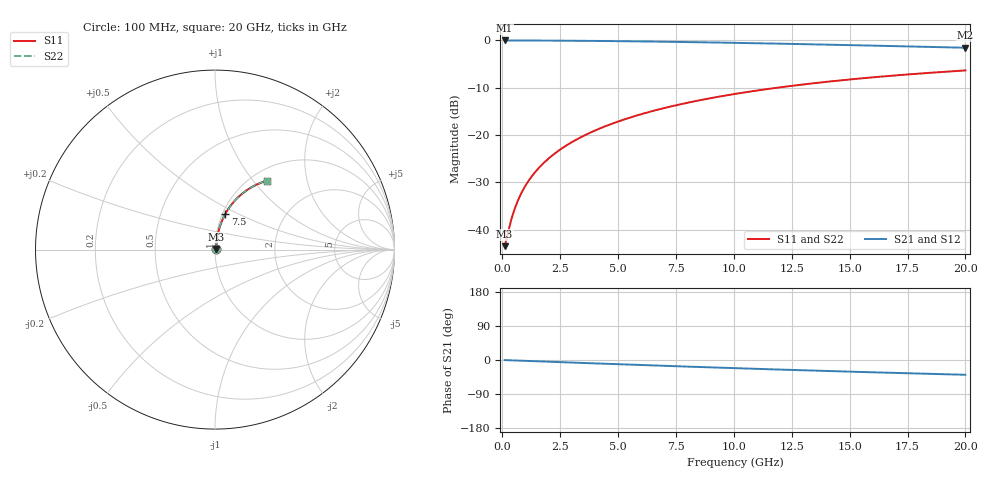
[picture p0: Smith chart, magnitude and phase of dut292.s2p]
! Touchstone file exported from HFSS 2024.1.0
!  File:  C:/UserFiles/LocalFiles/RDL_TSV_Batchsim/temp_RDL_bottom_292_1778703425.aedt
!  Generated:  04:19:41 AM May 14, 2026
!  Design:  RDL_bottom
!  Project:  temp_RDL_bottom_292_1778703425
!  Setup:  Setup1
!  Solution:  Sweep
! Variables:
!  dtsv = 10.80580581um
!  hbump = 3um
!  htsv = 96.75um
!  ldown = 429.83um
!  lrdl = 100um
!  p = 40
!  p1 = 57.82um
!  rhole = 1um
!  t = 450um
!  tdown = 2.22um
!  trdl = 3.915915916um
!  wdown = 11.53um
!  wrdl = 20um
# GHz S MA R 50.000000
! Terminal data exported
! Port[1] = RDL1_T1
! Port[2] = RDL1_T2
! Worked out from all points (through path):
!   200 points, 100 MHz to 20 GHz, reference 50 ohm
!   highest |S21| = -0.05 dB at 100 MHz (marker M1); lowest = -1.6 dB at 20 GHz (marker M2)
!   group delay of S21, straight-line fit = 5.43 ps
!   lowest |S11| = -43.4 dB at 100 MHz (marker M3), VSWR 1.01, Z = 50.6 + j0.291 ohm
!   |S11| at or under -10 dB: start of sweep to 11.9 GHz
!   |S22| runs from -43.4 to -6.4 dB; largest |S21 - S12| = 2.6e-15
!   S11 on the Smith chart (normalised r, x): 100 MHz: 1.01, +0.01; 7.5 GHz: 1.03, +0.43; 20 GHz: 1.18, +1.17
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0.1  0.006728 25.3  0.9939 -0.2  0.9939 -0.2  0.006728 25.3
! Gamma 0 0 0 0
! Port Impedance 50 0 50 0
0.3  0.01062 54.1  0.9938 -0.7  0.9938 -0.7  0.01062 54.1
0.4  0.0131 61.0  0.9937 -0.9  0.9937 -0.9  0.0131 61.0
0.5  0.01569 65.5  0.9936 -1.2  0.9936 -1.2  0.01569 65.5
0.6  0.01835 68.7  0.9934 -1.4  0.9934 -1.4  0.01835 68.7
0.7  0.02105 70.9  0.9933 -1.6  0.9933 -1.6  0.02105 70.9
0.9  0.02648 74.0  0.9929 -2.1  0.9929 -2.1  0.02648 74.0
1.2  0.03467 76.6  0.9923 -2.7  0.9923 -2.7  0.03467 76.6
1.4  0.04013 77.6  0.9919 -3.2  0.9919 -3.2  0.04013 77.6
1.7  0.04834 78.6  0.9912 -3.9  0.9912 -3.9  0.04834 78.6
2.2  0.06205 79.4  0.9898 -5.0  0.9898 -5.0  0.06205 79.4
2.8  0.07852 79.6  0.9879 -6.3  0.9879 -6.3  0.07852 79.6
3.5  0.09775 79.3  0.9851 -7.9  0.9851 -7.9  0.09775 79.3
4.2  0.1169 78.7  0.9818 -9.4  0.9818 -9.4  0.1169 78.7
5  0.1388 77.7  0.9774 -11.1  0.9774 -11.1  0.1388 77.7
5.9  0.1632 76.5  0.9718 -13.1  0.9718 -13.1  0.1632 76.5
6.8  0.1873 75.1  0.9655 -14.9  0.9655 -14.9  0.1873 75.1
7.5  0.2059 73.9  0.9602 -16.4  0.9602 -16.4  0.2059 73.9
10.1  0.2725 69.5  0.9377 -21.6  0.9377 -21.6  0.2726 69.5
13.4  0.3506 63.8  0.9047 -27.9  0.9047 -27.9  0.3506 63.8
16.7  0.4198 58.2  0.8691 -33.7  0.8691 -33.7  0.4198 58.2
20  0.48 53.1  0.8327 -39.0  0.8327 -39.0  0.48 53.1
